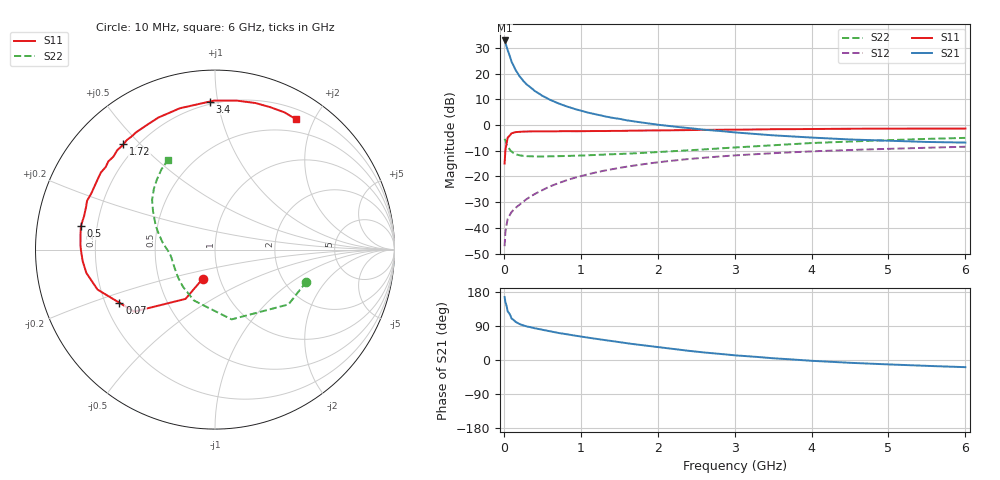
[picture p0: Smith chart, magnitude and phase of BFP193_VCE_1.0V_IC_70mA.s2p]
! Infineon Technologies  Discrete & RF Semiconductors
! BFP193
! VCE = 1.0 V,  IC =  70 mA
! Common Emitter S-Parameters:  Jan 2016
# GHz  S  MA  R  50
!  f  S11  S21  S12  S22
! GHz  MAG  ANG  MAG  ANG  MAG  ANG  MAG  ANG
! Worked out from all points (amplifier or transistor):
!   210 points, 10 MHz to 6 GHz, reference 50 ohm
!   highest |S21| = 32.9 dB at 10 MHz (marker M1)
!   |S21| within 3 dB of that: start of sweep to 41.4 MHz
!   unconditionally stable (mu >= 1): start of sweep to 20.87 MHz; 194.2 MHz to end of sweep
!   at 185 MHz: K = 0.98, MSG = 25.7 dB, |S12| = -31.4 dB
!   at 1.52 GHz: K = 1.25, MAG = 6.4 dB, |S12| = -16.6 dB
!   at 6 GHz: K = 1.08, MAG = -0.9 dB, |S12| = -8.4 dB
!   S11 on the Smith chart (normalised r, x): 10 MHz: 0.83, -0.28; 70 MHz: 0.26, -0.24; 500 MHz: 0.14, +0.09; 1.72 GHz: 0.15, +0.45; 3.4 GHz: 0.18, +0.95; 6 GHz: 0.33, +1.75
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0.01  0.1778 -113.0  44.24 166.2  0.0044 65.1  0.5395 -19.3
0.02  0.3202 -120.9  40.45 153.1  0.0082 65.0  0.511 -36.7
0.05  0.5679 -142.5  28.6 128.3  0.0149 51.4  0.3997 -76.6
0.07  0.6091 -150.9  23.73 123.0  0.0171 50.1  0.3467 -88.6
0.1  0.6913 -161.2  17.08 109.6  0.0203 48.7  0.3068 -112.6
0.15  0.7284 -169.7  11.91 100.8  0.0242 51.5  0.2731 -130.9
0.2  0.7398 -174.9  9.09 95.2  0.0279 54.3  0.2588 -141.9
0.26  0.7464 -179.4  7.041 90.9  0.033 57.7  0.2509 -150.2
0.3  0.7498 178.3  6.104 88.4  0.0366 59.5  0.2482 -154.0
0.4  0.7546 173.2  4.623 83.8  0.0454 62.6  0.2451 -160.9
0.5  0.7586 169.9  3.708 79.6  0.054 63.6  0.2447 -165.1
0.6  0.7528 165.7  3.1 75.6  0.064 64.6  0.2456 -168.1
0.7  0.7552 162.4  2.675 71.6  0.0731 64.8  0.2476 -170.4
1.02  0.7591 151.6  1.87 61.3  0.103 62.2  0.2555 -175.8
1.3  0.7632 143.0  1.49 52.7  0.1293 58.9  0.265 -179.7
1.72  0.7774 131.0  1.159 41.1  0.1652 53.4  0.2826 174.9
2.02  0.7877 123.4  1.008 33.6  0.1897 48.8  0.2994 170.8
3.1  0.8146 97.8  0.701 11.0  0.262 33.0  0.3727 154.2
3.4  0.8251 92.1  0.648 6.3  0.2786 29.0  0.3964 149.8
4.1  0.8393 80.4  0.561 -3.1  0.3118 19.7  0.4529 140.3
5.1  0.8517 67.6  0.49 -12.4  0.3483 8.0  0.5144 128.1
6  0.8549 58.1  0.456 -18.9  0.3785 -1.9  0.5626 118.0
